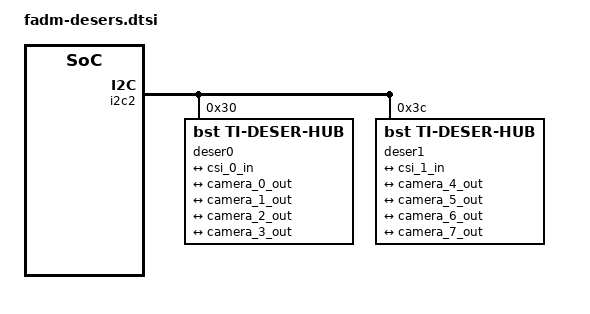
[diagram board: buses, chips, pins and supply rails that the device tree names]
/*
   default deser config for fada
   deser0@i2c2 0x30:    ti960
   deser1@i2c2 0x3d:    ti960
   deser2@i2c2 0x3c:    ti960
*/

&i2c2 {
    #address-cells = <1>;
    #size-cells = <0>;

    deser0: ti960@30 {
        #address-cells = <1>;
        #size-cells = <0>;
        compatible = "bst,ti-deser-hub";
        type = "ti960";
        reg = <0x30>;
        i2c-port = <1>;
        csi2-port = <0>;
        lane-speed = <1600>;

        csi-link {
            ports {
                port@0 {
                    clock-lanes = <0>;
                    data-lanes = <1 2 3 4>;
                    deser_0_out: endpoint{
                        remote-endpoint = <&csi_0_in>;
                    };
                };
            };
        };

        ports {
            #address-cells = <1>;
            #size-cells = <0>;

            port@0 {
                reg = <0>;
                deser_0_in_0: endpoint@0{
                    remote-endpoint = <&camera_0_out>;
                };
            };
            port@1 {
                reg = <1>;
                deser_0_in_1: endpoint@1{
                    remote-endpoint = <&camera_1_out>;
                };
            };
            port@2 {
                reg = <2>;
                deser_0_in_2: endpoint@2{
                    remote-endpoint = <&camera_2_out>;
                };
            };
            port@3 {
                reg = <3>;
                deser_0_in_3: endpoint@3{
                    remote-endpoint = <&camera_3_out>;
                };
            };
        };
    };

    deser1: ti960@3c {
        #address-cells = <1>;
        #size-cells = <0>;
        compatible = "bst,ti-deser-hub";
        type = "ti960";
        reg = <0x3c>;
        i2c-port = <1>;
        csi2-port = <0>;
        lane-speed = <1600>;
        csi-link {
            ports {
                port@0 {
                    clock-lanes = <0>;
                    data-lanes = <1 2 3 4>;
                    deser_1_out: endpoint{
                        remote-endpoint = <&csi_1_in>;
                    };
                };
            };
        };

        ports {
            #address-cells = <1>;
            #size-cells = <0>;
            port@0 {
                reg = <0>;
                deser_1_in_0: endpoint@0{
                    remote-endpoint = <&camera_4_out>;
                };
            };
            port@1 {
                reg = <1>;
                deser_1_in_1: endpoint@1{
                    remote-endpoint = <&camera_5_out>;
                };
            };
            port@2 {
                reg = <2>;
                deser_1_in_2: endpoint@2{
                    remote-endpoint = <&camera_6_out>;
                };
            };
            port@3 {
                reg = <3>;
                deser_1_in_3: endpoint@3{
                    remote-endpoint = <&camera_7_out>;
                };
            };
        };
    };
};
